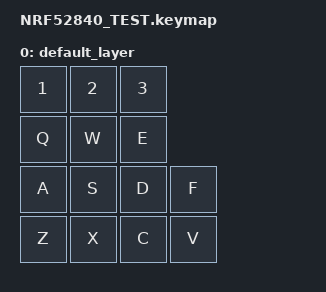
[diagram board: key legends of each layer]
#include <behaviors.dtsi>
#include <dt-bindings/zmk/keys.h>

/ {
    keymap {
        compatible = "zmk,keymap";
           default_layer {
            // ------------------------------------------------------------------------------------------
            // |  1  |  2  |  3  |
            // |  Q  |  W  |  E  |
            // |  A  |  S  |  D  |  F  |
            // |  Z  |  X  |  C  |  V  |
            // &kp Z  &kp X  &kp C
            // ------------------------------------------------------------------------------------------
            bindings = <
                &kp N1 &kp N2 &kp N3
                &kp Q  &kp W  &kp E
                &kp A  &kp S  &kp D  &kp F
                &kp Z  &kp X  &kp C  &kp V
            >;
        };
        extra1 {
            status = "reserved";
        };

        extra2 {
            status = "reserved";
        };
    };
};
